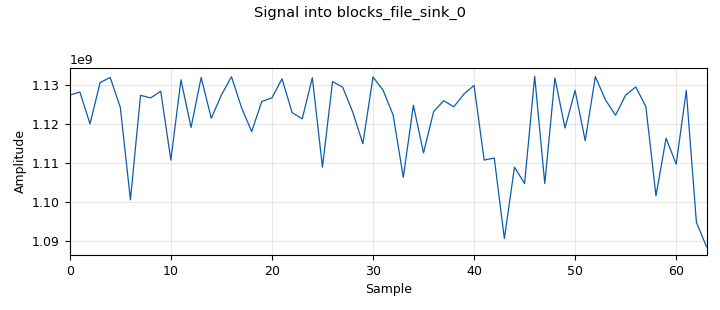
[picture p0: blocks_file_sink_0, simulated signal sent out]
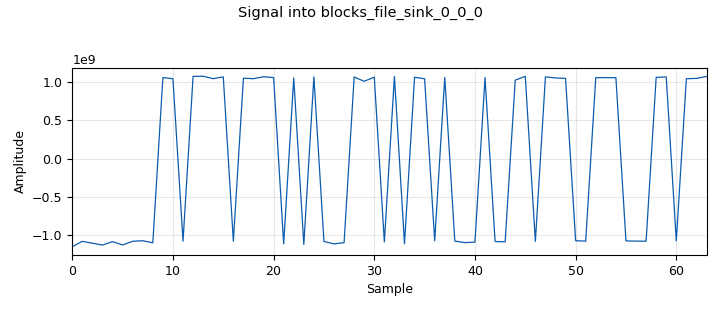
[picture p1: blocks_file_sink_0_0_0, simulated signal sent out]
options:
  parameters:
    generate_options: no_gui
    id: random_sources
    max_nouts: ''
    output_language: python
    run_options: run
    title: Random Sources
  states: {}

blocks:
- name: samples
  id: variable
  parameters:
    value: '1024'
  states: {}
- name: analog_const_source_x_0
  id: analog_const_source_x
  parameters:
    const: '13'
    maxoutbuf: samples
    type: float
  states: {}
- name: analog_noise_source_x_0
  id: analog_noise_source_x
  parameters:
    amp: '1'
    noise_type: analog.GR_GAUSSIAN
    seed: '0'
    type: float
  states: {}
- name: analog_random_source_x_0
  id: analog_random_source_x
  parameters:
    max: '256'
    min: '0'
    num_samps: samples
    repeat: 'True'
    type: byte
  states: {}
- name: analog_sig_source_x_0
  id: analog_sig_source_x
  parameters:
    amp: '1'
    freq: '1'
    offset: '0'
    phase: '0'
    samp_rate: samples
    type: float
    waveform: analog.GR_COS_WAVE
  states: {}
- name: blocks_file_sink_0
  id: blocks_file_sink
  parameters:
    file: random.bin
    type: float
  states: {}
- name: blocks_file_sink_0_0
  id: blocks_file_sink
  parameters:
    file: constant.bin
    type: float
  states: {}
- name: blocks_file_sink_0_0_0
  id: blocks_file_sink
  parameters:
    file: gaussian.bin
    type: float
  states: {}
- name: blocks_file_sink_0_0_0_0
  id: blocks_file_sink
  parameters:
    file: cosine.bin
    type: float
  states: {}
- name: blocks_head_0
  id: blocks_head
  parameters:
    num_items: samples
    type: int
  states: {}
- name: blocks_head_0_0
  id: blocks_head
  parameters:
    num_items: samples
    type: int
  states: {}
- name: blocks_head_0_1
  id: blocks_head
  parameters:
    num_items: samples
    type: int
  states: {}
- name: blocks_head_0_1_0
  id: blocks_head
  parameters:
    num_items: samples
    type: int
  states: {}
- name: blocks_pack_k_bits_bb_0
  id: blocks_pack_k_bits_bb
  parameters:
    k: '8'
  states: {}
- name: blocks_uchar_to_float_0
  id: blocks_uchar_to_float
  parameters: {}
  states: {}
- name: note_0
  id: note
  parameters:
    comment: To limit the max number of elements written out, use the head block
    note: Head
  states: {}
- name: note_1
  id: note
  parameters:
    comment: Demo to try out different random number sources, write raw floats to file
  states: {}

connections:
- [analog_const_source_x_0, '0', blocks_head_0, '0']
- [analog_noise_source_x_0, '0', blocks_head_0_1, '0']
- [analog_random_source_x_0, '0', blocks_pack_k_bits_bb_0, '0']
- [analog_sig_source_x_0, '0', blocks_head_0_1_0, '0']
- [blocks_head_0, '0', blocks_file_sink_0_0, '0']
- [blocks_head_0_0, '0', blocks_file_sink_0, '0']
- [blocks_head_0_1, '0', blocks_file_sink_0_0_0, '0']
- [blocks_head_0_1_0, '0', blocks_file_sink_0_0_0_0, '0']
- [blocks_pack_k_bits_bb_0, '0', blocks_uchar_to_float_0, '0']
- [blocks_uchar_to_float_0, '0', blocks_head_0_0, '0']

metadata:
  file_format: 1
